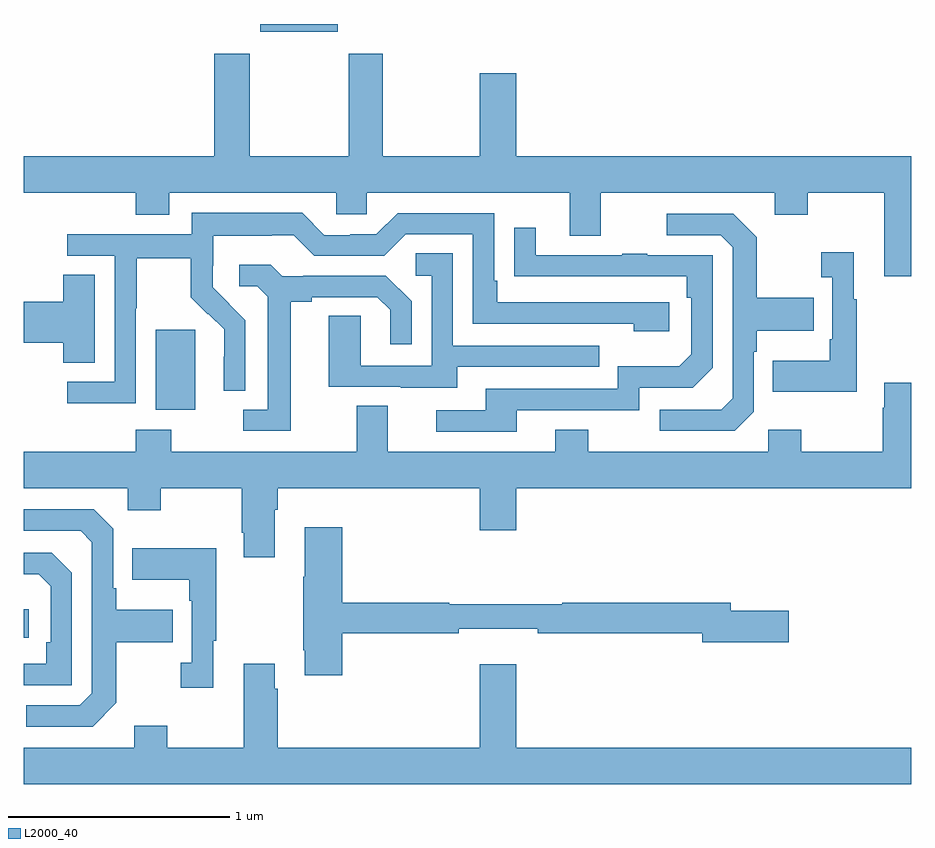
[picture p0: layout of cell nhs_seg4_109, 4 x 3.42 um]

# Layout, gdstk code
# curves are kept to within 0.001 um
import gdstk
lib = gdstk.Library(unit=1e-6, precision=1e-09)
def R(c, l, rs):  # rectangles x0, y0, x1, y1
    for r in rs: c.add(gdstk.rectangle(r[:2], r[2:], *l))
def P(c, l, *ps):  # polygons
    for p in ps: c.add(gdstk.Polygon(p, *l))
L2000_40 = (2000, 40)

nhs_seg4_109 = lib.new_cell('nhs_seg4_109')
R(nhs_seg4_109, L2000_40, [(115,808.134,115.024,808.264), (115.595,809.162,115.774,809.523), (116.066,810.866,116.416,810.9)])
P(nhs_seg4_109, L2000_40, [(119,810.304),(117.22,810.304),(117.22,810.679),(117.056,810.679),(117.056,810.304),(116.619,810.304),(116.619,810.766),(116.464,810.766),(116.464,810.304),(116.019,810.304),(116.019,810.766),(115.859,810.766),(115.859,810.304),(115,810.304),(115,810.14),(115.505,810.14),(115.505,810.041),(115.657,810.041),(115.657,810.14),(116.409,810.14),(116.409,810.042),(116.547,810.042),(116.547,810.14),(117.461,810.14),(117.461,809.946),(117.601,809.946),(117.601,810.14),(118.385,810.14),(118.385,810.041),(118.533,810.041),(118.533,810.14),(118.877,810.14),(118.877,809.763),(119,809.763)],
  [(115.506,809.62),(115.509,809.62),(115.509,809.844),(115.753,809.844),(115.753,809.669),(115.83,809.592),(115.833,809.595),(115.904,809.525),(115.904,809.402),(115.902,809.402),(115.902,809.248),(115.998,809.248),(115.998,809.566),(115.852,809.714),(115.852,809.811),(115.854,809.811),(115.854,809.945),(116.117,809.945),(116.117,809.949),(116.217,809.949),(116.31,809.856),(116.625,809.856),(116.721,809.952),(117.024,809.952),(117.024,809.55),(117.749,809.55),(117.749,809.516),(117.91,809.516),(117.91,809.646),(117.133,809.646),(117.133,809.743),(117.12,809.743),(117.12,810.048),(116.685,810.048),(116.589,809.952),(116.471,809.952),(116.471,809.949),(116.355,809.949),(116.255,810.049),(115.758,810.049),(115.758,809.952),(115.197,809.952),(115.197,809.856),(115.41,809.856),(115.41,809.289),(115.197,809.289),(115.197,809.191),(115.506,809.191)],
  [(118.29,809.154),(118.29,809.423),(118.303,809.423),(118.303,809.519),(118.559,809.519),(118.559,809.667),(118.303,809.667),(118.303,809.939),(118.197,810.045),(117.897,810.045),(117.897,809.949),(118.14,809.949),(118.194,809.895),(118.194,809.214),(118.143,809.163),(117.867,809.163),(117.867,809.067),(118.203,809.067)],
  [(117.223,809.16),(117.774,809.16),(117.774,809.262),(118.014,809.262),(118.104,809.352),(118.104,809.859),(117.809,809.859),(117.809,809.864),(117.697,809.864),(117.697,809.859),(117.307,809.859),(117.307,809.983),(117.211,809.983),(117.211,809.764),(117.988,809.763),(117.988,809.666),(118.008,809.666),(118.008,809.412),(117.955,809.359),(117.678,809.359),(117.678,809.256),(117.083,809.256),(117.083,809.16),(116.859,809.16),(116.859,809.064),(117.223,809.064)],
  [(118.753,809.659),(118.741,809.659),(118.741,809.872),(118.593,809.872),(118.593,809.759),(118.644,809.759),(118.644,809.479),(118.632,809.479),(118.632,809.383),(118.375,809.383),(118.375,809.243),(118.753,809.243)],
  [(116.953,809.355),(117.593,809.355),(117.593,809.451),(116.934,809.451),(116.934,809.867),(116.766,809.867),(116.766,809.766),(116.838,809.766),(116.838,809.361),(116.52,809.361),(116.52,809.585),(116.375,809.585),(116.375,809.265),(116.699,809.265),(116.699,809.261),(116.953,809.261)],
  [(116.203,809.648),(116.299,809.648),(116.299,809.67),(116.594,809.67),(116.651,809.613),(116.651,809.457),(116.748,809.457),(116.748,809.65),(116.632,809.766),(116.26,809.766),(116.26,809.763),(116.166,809.763),(116.114,809.815),(115.971,809.815),(115.971,809.718),(116.052,809.718),(116.099,809.671),(116.099,809.163),(115.989,809.163),(115.989,809.067),(116.203,809.067)],
  [(115.321,809.771),(115.178,809.771),(115.178,809.648),(115,809.648),(115,809.465),(115.178,809.465),(115.178,809.374),(115.321,809.374)],
  [(116.131,808.712),(116.144,808.712),(116.144,808.808),(117.056,808.808),(117.056,808.62),(117.22,808.62),(117.22,808.808),(119,808.808),(119,809.284),(118.877,809.284),(118.877,809.171),(118.87,809.171),(118.87,808.972),(118.503,808.972),(118.503,809.071),(118.356,809.071),(118.356,808.972),(117.543,808.972),(117.543,809.071),(117.395,809.071),(117.395,808.972),(116.641,808.972),(116.641,809.18),(116.501,809.18),(116.501,808.972),(115.665,808.972),(115.665,809.071),(115.505,809.071),(115.505,808.972),(115,808.972),(115,808.808),(115.47,808.808),(115.47,808.709),(115.617,808.709),(115.617,808.808),(115.984,808.808),(115.984,808.609),(115.991,808.609),(115.991,808.497),(116.131,808.497)],
  [(115.417,807.841),(115.417,808.114),(115.673,808.114),(115.673,808.261),(115.417,808.261),(115.417,808.357),(115.404,808.357),(115.404,808.626),(115.317,808.713),(115,808.713),(115,808.617),(115.257,808.617),(115.308,808.566),(115.308,807.885),(115.254,807.831),(115.011,807.831),(115.011,807.735),(115.311,807.735)],
  [(116.435,808.156),(116.96,808.156),(116.96,808.175),(117.316,808.175),(117.316,808.156),(118.058,808.156),(118.058,808.114),(118.447,808.114),(118.447,808.256),(118.186,808.256),(118.186,808.292),(117.427,808.292),(117.427,808.285),(116.918,808.285),(116.918,808.292),(116.435,808.292),(116.435,808.633),(116.267,808.633),(116.267,808.409),(116.26,808.409),(116.26,808.078),(116.267,808.078),(116.267,807.966),(116.435,807.966)],
  [(115.855,808.121),(115.867,808.121),(115.867,808.537),(115.489,808.537),(115.489,808.397),(115.746,808.397),(115.746,808.301),(115.758,808.301),(115.758,808.022),(115.707,808.022),(115.707,807.909),(115.855,807.909)],
  [(115.218,808.428),(115.128,808.518),(115,808.518),(115,808.421),(115.069,808.421),(115.122,808.368),(115.122,808.114),(115.102,808.114),(115.102,808.017),(115,808.017),(115,807.921),(115.218,807.921)],
  [(119,807.64),(117.22,807.64),(117.22,808.015),(117.056,808.015),(117.056,807.64),(116.144,807.64),(116.144,807.905),(116.131,807.905),(116.131,808.018),(115.991,808.018),(115.991,807.64),(115.647,807.64),(115.647,807.739),(115.499,807.739),(115.499,807.64),(115,807.64),(115,807.476),(119,807.476)])

lib.write_gds('nhs_seg4_109.gds')
